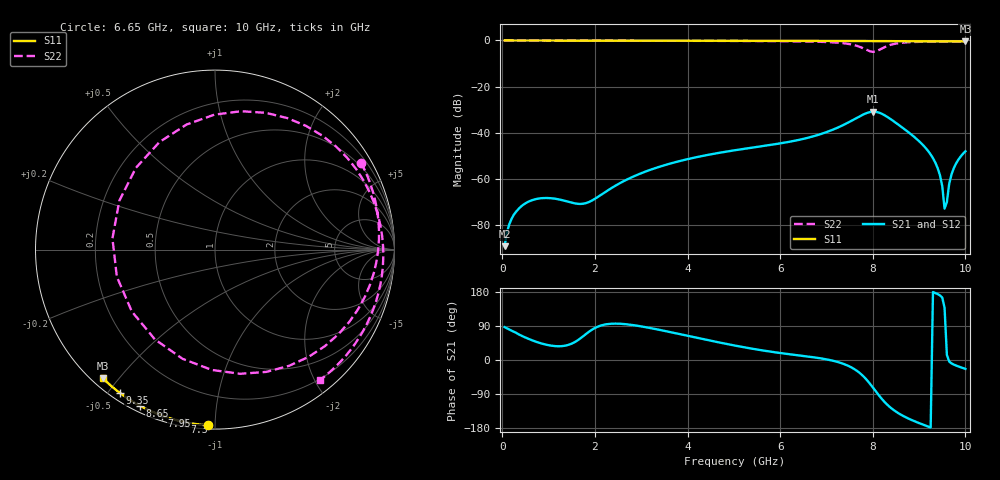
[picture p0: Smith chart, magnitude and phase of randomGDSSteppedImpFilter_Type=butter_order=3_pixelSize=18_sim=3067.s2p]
! freq	dB(S11)	phase(S11)	dB(S12)	phase(S12)
!  dB(S21)	phase(S21)	dB(S22)	phase(S22)
!S-par simulation data
#  GHz  S  DB  R 50
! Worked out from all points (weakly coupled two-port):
!   200 points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, 50 MHz to 10 GHz, reference 50 ohm
!   highest |S21| = -30.84 dB at 8 GHz (marker M1); lowest = -89.0 dB at 50 MHz (marker M2)
!   lowest |S11| = -0.4 dB at 10 GHz (marker M3), VSWR 39.48, Z = 1.53 - j22.8 ohm
!   |S11| at or under -10 dB: nowhere
!   |S22| runs from -4.9 to 0.0 dB; largest |S21 - S12| = 0
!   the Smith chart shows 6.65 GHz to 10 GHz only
!   S11 on the Smith chart (normalised r, x): 6.65 GHz: 0.02, -0.96; 7.3 GHz: 0.02, -0.84; 7.95 GHz: 0.02, -0.73; 8.65 GHz: 0.02, -0.63; 9.35 GHz: 0.03, -0.53; 10 GHz: 0.03, -0.46
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0.05  -0.00 -0.8  -89.03 86.8  -89.03 86.8  -0.01 -5.9
0.4  -0.01 -6.0  -71.94 64.9  -71.94 64.9  -0.06 -45.2
0.75  -0.01 -11.3  -68.55 47.3  -68.55 47.3  -0.09 -79.2
1.75  -0.03 -26.1  -70.64 63.1  -70.64 63.1  -0.11 -144.9
2.5  -0.05 -37.0  -62.20 95.9  -62.20 95.9  -0.12 -177.1
3.4  -0.07 -49.7  -54.62 79.4  -54.62 79.4  -0.13 151.3
5.05  -0.11 -72.0  -47.43 37.5  -47.43 37.5  -0.21 96.5
5.9  -0.14 -82.9  -44.87 20.1  -44.87 20.1  -0.29 64.8
6.65  -0.18 -92.2  -41.85 8.3  -41.85 8.3  -0.47 30.8
6.7  -0.18 -92.8  -41.58 7.5  -41.58 7.5  -0.49 28.1
7.3  -0.21 -100.0  -37.20 -7.4  -37.20 -7.4  -1.06 -12.8
7.7  -0.24 -104.7  -33.02 -32.5  -33.02 -32.5  -2.63 -67.3
7.95  -0.26 -107.6  -30.95 -64.2  -30.95 -64.2  -4.77 -143.4
8  -0.26 -108.2  -30.84 -72.1  -30.84 -72.1  -4.92 -164.6
8.2  -0.27 -110.5  -31.79 -103.4  -31.79 -103.4  -3.43 117.4
8.35  -0.28 -112.3  -33.56 -122.1  -33.56 -122.1  -2.11 79.3
8.65  -0.31 -115.7  -37.87 -147.2  -37.87 -147.2  -0.95 34.9
9.35  -0.37 -123.7  -52.84 176.9  -52.84 176.9  -0.51 -17.6
9.5  -0.39 -125.4  -62.99 164.9  -62.99 164.9  -0.52 -26.0
9.55  -0.39 -126.0  -72.75 138.3  -72.75 138.3  -0.52 -28.6
9.7  -0.41 -127.7  -57.99 -9.0  -57.99 -9.0  -0.54 -36.4
10  -0.44 -131.0  -47.97 -23.4  -47.97 -23.4  -0.61 -51.2
